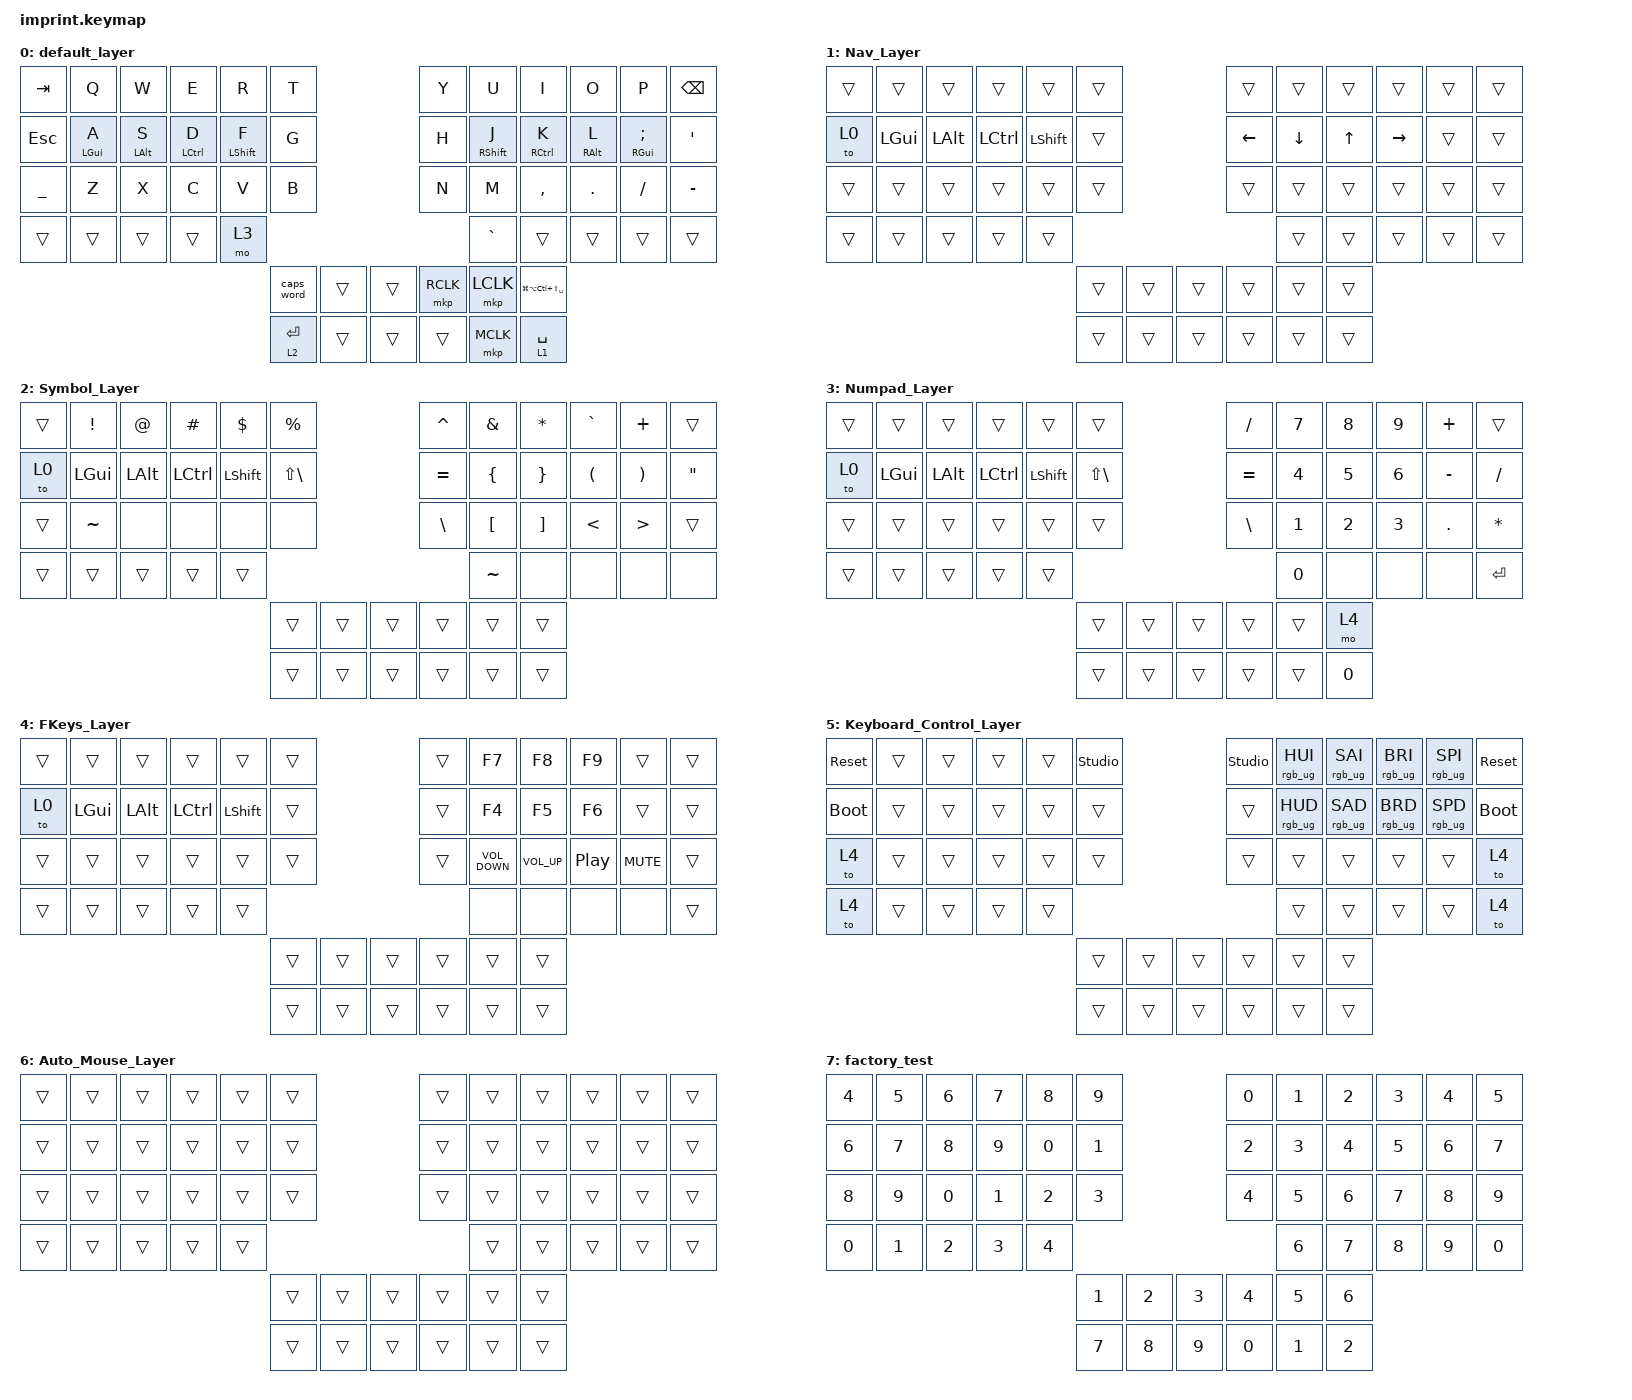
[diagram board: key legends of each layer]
#include <input/processors.dtsi>
#include <dt-bindings/zmk/input_transform.h>
#include <behaviors.dtsi>
#include <dt-bindings/zmk/bt.h>
#include <dt-bindings/zmk/keys.h>
#include <dt-bindings/zmk/pointing.h>
#include <dt-bindings/zmk/rgb.h>

// https://getreuer.info/posts/keyboards/faqs/index.html#home-row-mods-are-hard-to-use
#define IDLE_MS 80
#define IDLE_SHORT_MS 50
#define QUICK_TAP_MS 175
#define QUICK_TAP_SHORT_MS 140

// https://nickcoutsos.github.io/keymap-layout-tools
#define KEYS_R 6 7 8 9 10 11 18 19 20 21 22 23 30 31 32 33 34 35 41 42 43 44 45
#define KEYS_L 0 1 2 3 4 5 12 13 14 15 16 17 24 25 26 27 28 29 36 37 38 39 40
#define THUMB_KEYS_L 52
#define THUMB_KEYS_R 57

&caps_word {
    continue-list = <UNDERSCORE MINUS BACKSPACE LEFT RIGHT>;
};

/ {
    chosen { zmk,matrix-transform = &imprint_letters_only_full_bottom_row; };
    behaviors {
        hrm_l: home_row_mod_left {
            compatible = "zmk,behavior-hold-tap";
            #binding-cells = <2>;
            flavor = "balanced";
            require-prior-idle-ms = <IDLE_MS>;
            tapping-term-ms = <200>;
            quick-tap-ms = <QUICK_TAP_MS>;
            bindings = <&kp>, <&kp>;
            hold-trigger-key-positions = <KEYS_R THUMB_KEYS_R>;
            hold-trigger-on-release;
        };
        hrm_ls: home_row_mod_left_short {
            compatible = "zmk,behavior-hold-tap";
            #binding-cells = <2>;
            flavor = "balanced";
            require-prior-idle-ms = <IDLE_SHORT_MS>;
            tapping-term-ms = <180>;
            quick-tap-ms = <QUICK_TAP_SHORT_MS>;
            bindings = <&kp>, <&kp>;
            hold-trigger-key-positions = <KEYS_R THUMB_KEYS_R>;
            hold-trigger-on-release;
        };
        hrm_r: home_row_mod_right {
            compatible = "zmk,behavior-hold-tap";
            #binding-cells = <2>;
            flavor = "balanced";
            require-prior-idle-ms = <IDLE_MS>;
            tapping-term-ms = <200>;
            quick-tap-ms = <QUICK_TAP_MS>;
            bindings = <&kp>, <&kp>;
            hold-trigger-key-positions = <KEYS_L THUMB_KEYS_L>;
            hold-trigger-on-release;
        };
      
        hrm_rs: home_row_mod_right_short {
            compatible = "zmk,behavior-hold-tap";
            #binding-cells = <2>;
            flavor = "balanced";
            require-prior-idle-ms = <IDLE_SHORT_MS>;
            tapping-term-ms = <180>;
            quick-tap-ms = <QUICK_TAP_SHORT_MS>;
            bindings = <&kp>, <&kp>;
            hold-trigger-key-positions = <KEYS_L THUMB_KEYS_L>;
            hold-trigger-on-release;
        };
    };

    keymap {
        compatible = "zmk,keymap";

        // layer 0
        default_layer {
            bindings = <
//    ┌─────┬───────────────┬───────────────┬───────────────┬────────────────┬───┐                                                                      ┌───┬────────────────┬───────────────┬───────────────┬───────────────┬──────┐
//    │ tab │       Q       │       W       │       E       │       R        │ T │                                                                      │ Y │       U        │       I       │       O       │       P       │ bspc │
//    ├─────┼───────────────┼───────────────┼───────────────┼────────────────┼───┤                                                                      ├───┼────────────────┼───────────────┼───────────────┼───────────────┼──────┤
//    │ esc │ &hrm_l lgui A │ &hrm_l lalt S │ &hrm_l lctl D │ &hrm_ls lsft F │ G │                                                                      │ H │ &hrm_rs rsft J │ &hrm_r rctl K │ &hrm_r ralt L │ &hrm_r rgui ; │  '   │
//    ├─────┼───────────────┼───────────────┼───────────────┼────────────────┼───┤                                                                      ├───┼────────────────┼───────────────┼───────────────┼───────────────┼──────┤
//    │  _  │       Z       │       X       │       C       │       V        │ B │                                                                      │ N │       M        │       ,       │       .       │       /       │  -   │
//    ├─────┼───────────────┼───────────────┼───────────────┼────────────────┼───┘                                                                      └───┼────────────────┼───────────────┼───────────────┼───────────────┼──────┤
//    │     │               │               │               │      mo 3      │                                                                              │       `        │               │               │               │      │
//    └─────┴───────────────┴───────────────┴───────────────┴────────────────┘   ┌──────────┬─────┬─────┐   ┌──────┬──────┬─────────────────────────────┐   └────────────────┴───────────────┴───────────────┴───────────────┴──────┘
//                                                                               │  capsw   │     │     │   │ rclk │ lclk │ lgui(lalt(lctl(lsft(spc)))) │
//                                                                               ├──────────┼─────┼─────┤   ├──────┼──────┼─────────────────────────────┤
//                                                                               │ lt 2 ent │     │     │   │      │ mclk │          lt 1 spc           │
//                                                                               └──────────┴─────┴─────┘   └──────┴──────┴─────────────────────────────┘
  &kp TAB          &kp Q           &kp W           &kp E            &kp R              &kp T                                                                                          &kp Y   &kp U              &kp I            &kp O           &kp P              &kp BSPC
  &kp ESC          &hrm_l LGUI A   &hrm_l LALT S   &hrm_l LCTRL D   &hrm_ls LSHIFT F   &kp G                                                                                          &kp H   &hrm_rs RSHIFT J   &hrm_r RCTRL K   &hrm_r RALT L   &hrm_r RGUI SEMI   &kp SINGLE_QUOTE
  &kp UNDERSCORE   &kp Z           &kp X           &kp C            &kp V              &kp B                                                                                          &kp N   &kp M              &kp COMMA        &kp DOT         &kp FSLH           &kp MINUS
  &trans           &trans          &trans          &trans           &mo 3                                                                                                                     &kp GRAVE          &trans           &trans          &trans             &trans
                                                                                               &caps_word   &trans   &trans       &mkp RCLK   &mkp LCLK   &kp LG(LA(LC(LS(SPACE))))
                                                                                               &lt 2 RET    &trans   &trans       &trans      &mkp MCLK   &lt 1 SPACE
            >;
        };

        // layer 1
        Nav_Layer {
            bindings = <
//    ┌──────┬──────┬──────┬──────┬──────┬─────┐                                       ┌──────┬──────┬─────┬──────┬─────┬─────┐
//    │      │      │      │      │      │     │                                       │      │      │     │      │     │     │
//    ├──────┼──────┼──────┼──────┼──────┼─────┤                                       ├──────┼──────┼─────┼──────┼─────┼─────┤
//    │ to 0 │ lgui │ lalt │ lctl │ lsft │     │                                       │ left │ down │ up  │ rght │     │     │
//    ├──────┼──────┼──────┼──────┼──────┼─────┤                                       ├──────┼──────┼─────┼──────┼─────┼─────┤
//    │      │      │      │      │      │     │                                       │      │      │     │      │     │     │
//    ├──────┼──────┼──────┼──────┼──────┼─────┘                                       └──────┼──────┼─────┼──────┼─────┼─────┤
//    │      │      │      │      │      │                                                    │      │     │      │     │     │
//    └──────┴──────┴──────┴──────┴──────┘     ┌─────┬─────┬─────┐   ┌─────┬─────┬─────┐      └──────┴─────┴──────┴─────┴─────┘
//                                             │     │     │     │   │     │     │     │
//                                             ├─────┼─────┼─────┤   ├─────┼─────┼─────┤
//                                             │     │     │     │   │     │     │     │
//                                             └─────┴─────┴─────┘   └─────┴─────┴─────┘
  &trans   &trans     &trans     &trans      &trans       &trans                                                             &trans     &trans     &trans   &trans      &trans   &trans
  &to 0    &kp LGUI   &kp LALT   &kp LCTRL   &kp LSHIFT   &trans                                                             &kp LEFT   &kp DOWN   &kp UP   &kp RIGHT   &trans   &trans
  &trans   &trans     &trans     &trans      &trans       &trans                                                             &trans     &trans     &trans   &trans      &trans   &trans
  &trans   &trans     &trans     &trans      &trans                                                                                     &trans     &trans   &trans      &trans   &trans
                                                                   &trans   &trans   &trans       &trans   &trans   &trans
                                                                   &trans   &trans   &trans       &trans   &trans   &trans
            >;
        };

        // layer 2
        Symbol_Layer {
            bindings = <
//    ┌──────┬──────┬──────┬──────┬──────┬─────────┐                                       ┌───┬───┬─────┬─────┬─────┬─────┐
//    │      │  !   │  @   │  #   │  $   │    %    │                                       │ ^ │ & │  *  │  `  │  +  │     │
//    ├──────┼──────┼──────┼──────┼──────┼─────────┤                                       ├───┼───┼─────┼─────┼─────┼─────┤
//    │ to 0 │ lgui │ lalt │ lctl │ lsft │ lsft(\) │                                       │ = │ { │  }  │  (  │  )  │  "  │
//    ├──────┼──────┼──────┼──────┼──────┼─────────┤                                       ├───┼───┼─────┼─────┼─────┼─────┤
//    │      │  ~   │      │      │      │         │                                       │ \ │ [ │  ]  │  <  │  >  │     │
//    ├──────┼──────┼──────┼──────┼──────┼─────────┘                                       └───┼───┼─────┼─────┼─────┼─────┤
//    │      │      │      │      │      │                                                     │ ~ │     │     │     │     │
//    └──────┴──────┴──────┴──────┴──────┘         ┌─────┬─────┬─────┐   ┌─────┬─────┬─────┐   └───┴─────┴─────┴─────┴─────┘
//                                                 │     │     │     │   │     │     │     │
//                                                 ├─────┼─────┼─────┤   ├─────┼─────┼─────┤
//                                                 │     │     │     │   │     │     │     │
//                                                 └─────┴─────┴─────┘   └─────┴─────┴─────┘
  &trans   &kp EXCLAMATION   &kp AT_SIGN   &kp HASH    &kp DOLLAR   &kp PERCENT                                                                   &kp CARET       &kp AMPERSAND      &kp ASTERISK        &kp GRAVE              &kp PLUS                &trans
  &to 0    &kp LGUI          &kp LALT      &kp LCTRL   &kp LSHIFT   &kp LS(BACKSLASH)                                                             &kp EQUAL       &kp LEFT_BRACE     &kp RIGHT_BRACE     &kp LEFT_PARENTHESIS   &kp RIGHT_PARENTHESIS   &kp DOUBLE_QUOTES
  &trans   &kp TILDE         &none         &none       &none        &none                                                                         &kp BACKSLASH   &kp LEFT_BRACKET   &kp RIGHT_BRACKET   &kp LESS_THAN          &kp GREATER_THAN        &trans
  &trans   &trans            &trans        &trans      &trans                                                                                                     &kp TILDE          &none               &none                  &none                   &none
                                                                                        &trans   &trans   &trans       &trans   &trans   &trans
                                                                                        &trans   &trans   &trans       &trans   &trans   &trans
            >;
        };

        // layer 3
        Numpad_Layer {
            bindings = <
//    ┌──────┬──────┬──────┬──────┬──────┬─────────┐                                        ┌───┬───┬─────┬─────┬─────┬─────┐
//    │      │      │      │      │      │         │                                        │ / │ 7 │  8  │  9  │  +  │     │
//    ├──────┼──────┼──────┼──────┼──────┼─────────┤                                        ├───┼───┼─────┼─────┼─────┼─────┤
//    │ to 0 │ lgui │ lalt │ lctl │ lsft │ lsft(\) │                                        │ = │ 4 │  5  │  6  │  -  │  /  │
//    ├──────┼──────┼──────┼──────┼──────┼─────────┤                                        ├───┼───┼─────┼─────┼─────┼─────┤
//    │      │      │      │      │      │         │                                        │ \ │ 1 │  2  │  3  │  .  │  *  │
//    ├──────┼──────┼──────┼──────┼──────┼─────────┘                                        └───┼───┼─────┼─────┼─────┼─────┤
//    │      │      │      │      │      │                                                      │ 0 │     │     │     │ ent │
//    └──────┴──────┴──────┴──────┴──────┘         ┌─────┬─────┬─────┐   ┌─────┬─────┬──────┐   └───┴─────┴─────┴─────┴─────┘
//                                                 │     │     │     │   │     │     │ mo 4 │
//                                                 ├─────┼─────┼─────┤   ├─────┼─────┼──────┤
//                                                 │     │     │     │   │     │     │  0   │
//                                                 └─────┴─────┴─────┘   └─────┴─────┴──────┘
  &trans   &trans     &trans     &trans      &trans       &trans                                                                        &kp SLASH       &kp N7   &kp N8   &kp N9   &kp PLUS    &trans
  &to 0    &kp LGUI   &kp LALT   &kp LCTRL   &kp LSHIFT   &kp LS(BACKSLASH)                                                             &kp EQUAL       &kp N4   &kp N5   &kp N6   &kp MINUS   &kp SLASH
  &trans   &trans     &trans     &trans      &trans       &trans                                                                        &kp BACKSLASH   &kp N1   &kp N2   &kp N3   &kp DOT     &kp ASTERISK
  &trans   &trans     &trans     &trans      &trans                                                                                                     &kp N0   &none    &none    &none       &kp ENTER
                                                                              &trans   &trans   &trans       &trans   &trans   &mo 4
                                                                              &trans   &trans   &trans       &trans   &trans   &kp N0
            >;
        };

        // layer 4
        FKeys_Layer {
            bindings = <
//    ┌──────┬──────┬──────┬──────┬──────┬─────┐                                       ┌─────┬──────┬──────┬──────┬──────┬─────┐
//    │      │      │      │      │      │     │                                       │     │  f7  │  f8  │  f9  │      │     │
//    ├──────┼──────┼──────┼──────┼──────┼─────┤                                       ├─────┼──────┼──────┼──────┼──────┼─────┤
//    │ to 0 │ lgui │ lalt │ lctl │ lsft │     │                                       │     │  f4  │  f5  │  f6  │      │     │
//    ├──────┼──────┼──────┼──────┼──────┼─────┤                                       ├─────┼──────┼──────┼──────┼──────┼─────┤
//    │      │      │      │      │      │     │                                       │     │ vold │ volu │ play │ mute │     │
//    ├──────┼──────┼──────┼──────┼──────┼─────┘                                       └─────┼──────┼──────┼──────┼──────┼─────┤
//    │      │      │      │      │      │                                                   │      │      │      │      │     │
//    └──────┴──────┴──────┴──────┴──────┘     ┌─────┬─────┬─────┐   ┌─────┬─────┬─────┐     └──────┴──────┴──────┴──────┴─────┘
//                                             │     │     │     │   │     │     │     │
//                                             ├─────┼─────┼─────┤   ├─────┼─────┼─────┤
//                                             │     │     │     │   │     │     │     │
//                                             └─────┴─────┴─────┘   └─────┴─────┴─────┘
  &trans   &trans     &trans     &trans      &trans       &trans                                                             &trans   &kp F7              &kp F8            &kp F9             &trans       &trans
  &to 0    &kp LGUI   &kp LALT   &kp LCTRL   &kp LSHIFT   &trans                                                             &trans   &kp F4              &kp F5            &kp F6             &trans       &trans
  &trans   &trans     &trans     &trans      &trans       &trans                                                             &trans   &kp C_VOLUME_DOWN   &kp C_VOLUME_UP   &kp C_PLAY_PAUSE   &kp C_MUTE   &trans
  &trans   &trans     &trans     &trans      &trans                                                                                   &none               &none             &none              &none        &trans
                                                                   &trans   &trans   &trans       &trans   &trans   &trans
                                                                   &trans   &trans   &trans       &trans   &trans   &trans
            >;
        };

      // layer 5
        Keyboard_Control_Layer {
            bindings = <
//    ┌────────────┬─────┬─────┬─────┬─────┬────────────────┐                                       ┌────────────────┬─────────┬─────────┬─────────┬─────────┬────────────┐
//    │ &sys_reset │     │     │     │     │ &studio_unlock │                                       │ &studio_unlock │ ug_ hu+ │ ug_ sa+ │ ug_ br+ │ ug_ sp+ │ &sys_reset │
//    ├────────────┼─────┼─────┼─────┼─────┼────────────────┤                                       ├────────────────┼─────────┼─────────┼─────────┼─────────┼────────────┤
//    │    boot    │     │     │     │     │                │                                       │                │ ug_ hu- │ ug_ sa- │ ug_ br- │ ug_ sp- │    boot    │
//    ├────────────┼─────┼─────┼─────┼─────┼────────────────┤                                       ├────────────────┼─────────┼─────────┼─────────┼─────────┼────────────┤
//    │    to 4    │     │     │     │     │                │                                       │                │         │         │         │         │    to 4    │
//    ├────────────┼─────┼─────┼─────┼─────┼────────────────┘                                       └────────────────┼─────────┼─────────┼─────────┼─────────┼────────────┤
//    │    to 4    │     │     │     │     │                                                                         │         │         │         │         │    to 4    │
//    └────────────┴─────┴─────┴─────┴─────┘                ┌─────┬─────┬─────┐   ┌─────┬─────┬─────┐                └─────────┴─────────┴─────────┴─────────┴────────────┘
//                                                          │     │     │     │   │     │     │     │
//                                                          ├─────┼─────┼─────┤   ├─────┼─────┼─────┤
//                                                          │     │     │     │   │     │     │     │
//                                                          └─────┴─────┴─────┘   └─────┴─────┴─────┘
  &sys_reset    &trans   &trans   &trans   &trans   &studio_unlock                                                             &studio_unlock   &rgb_ug RGB_HUI   &rgb_ug RGB_SAI   &rgb_ug RGB_BRI   &rgb_ug RGB_SPI   &sys_reset
  &bootloader   &trans   &trans   &trans   &trans   &trans                                                                     &trans           &rgb_ug RGB_HUD   &rgb_ug RGB_SAD   &rgb_ug RGB_BRD   &rgb_ug RGB_SPD   &bootloader
  &to 4         &trans   &trans   &trans   &trans   &trans                                                                     &trans           &trans            &trans            &trans            &trans            &to 4
  &to 4         &trans   &trans   &trans   &trans                                                                                               &trans            &trans            &trans            &trans            &to 4
                                                                     &trans   &trans   &trans       &trans   &trans   &trans
                                                                     &trans   &trans   &trans       &trans   &trans   &trans
            >;
        };

        // layer 6
        Auto_Mouse_Layer {
            bindings = <
//    ┌─────┬─────┬─────┬─────┬─────┬─────┐                                       ┌─────┬─────┬─────┬─────┬─────┬─────┐
//    │     │     │     │     │     │     │                                       │     │     │     │     │     │     │
//    ├─────┼─────┼─────┼─────┼─────┼─────┤                                       ├─────┼─────┼─────┼─────┼─────┼─────┤
//    │     │     │     │     │     │     │                                       │     │     │     │     │     │     │
//    ├─────┼─────┼─────┼─────┼─────┼─────┤                                       ├─────┼─────┼─────┼─────┼─────┼─────┤
//    │     │     │     │     │     │     │                                       │     │     │     │     │     │     │
//    ├─────┼─────┼─────┼─────┼─────┼─────┘                                       └─────┼─────┼─────┼─────┼─────┼─────┤
//    │     │     │     │     │     │                                                   │     │     │     │     │     │
//    └─────┴─────┴─────┴─────┴─────┘     ┌─────┬─────┬─────┐   ┌─────┬─────┬─────┐     └─────┴─────┴─────┴─────┴─────┘
//                                        │     │     │     │   │     │     │     │
//                                        ├─────┼─────┼─────┤   ├─────┼─────┼─────┤
//                                        │     │     │     │   │     │     │     │
//                                        └─────┴─────┴─────┘   └─────┴─────┴─────┘
  &trans   &trans   &trans   &trans   &trans   &trans                                                             &trans   &trans   &trans   &trans   &trans   &trans
  &trans   &trans   &trans   &trans   &trans   &trans                                                             &trans   &trans   &trans   &trans   &trans   &trans
  &trans   &trans   &trans   &trans   &trans   &trans                                                             &trans   &trans   &trans   &trans   &trans   &trans
  &trans   &trans   &trans   &trans   &trans                                                                               &trans   &trans   &trans   &trans   &trans
                                                        &trans   &trans   &trans       &trans   &trans   &trans
                                                        &trans   &trans   &trans       &trans   &trans   &trans
            >;
        };

        // layer 7
        factory_test {
            bindings = <
//    ┌───┬───┬───┬───┬───┬───┐                           ┌───┬───┬───┬───┬───┬───┐
//    │ 4 │ 5 │ 6 │ 7 │ 8 │ 9 │                           │ 0 │ 1 │ 2 │ 3 │ 4 │ 5 │
//    ├───┼───┼───┼───┼───┼───┤                           ├───┼───┼───┼───┼───┼───┤
//    │ 6 │ 7 │ 8 │ 9 │ 0 │ 1 │                           │ 2 │ 3 │ 4 │ 5 │ 6 │ 7 │
//    ├───┼───┼───┼───┼───┼───┤                           ├───┼───┼───┼───┼───┼───┤
//    │ 8 │ 9 │ 0 │ 1 │ 2 │ 3 │                           │ 4 │ 5 │ 6 │ 7 │ 8 │ 9 │
//    ├───┼───┼───┼───┼───┼───┘                           └───┼───┼───┼───┼───┼───┤
//    │ 0 │ 1 │ 2 │ 3 │ 4 │                                   │ 6 │ 7 │ 8 │ 9 │ 0 │
//    └───┴───┴───┴───┴───┘   ┌───┬───┬───┐   ┌───┬───┬───┐   └───┴───┴───┴───┴───┘
//                            │ 1 │ 2 │ 3 │   │ 4 │ 5 │ 6 │
//                            ├───┼───┼───┤   ├───┼───┼───┤
//                            │ 7 │ 8 │ 9 │   │ 0 │ 1 │ 2 │
//                            └───┴───┴───┘   └───┴───┴───┘
  &kp N4   &kp N5   &kp N6   &kp N7   &kp N8   &kp N9                                                             &kp N0   &kp N1   &kp N2   &kp N3   &kp N4   &kp N5
  &kp N6   &kp N7   &kp N8   &kp N9   &kp N0   &kp N1                                                             &kp N2   &kp N3   &kp N4   &kp N5   &kp N6   &kp N7
  &kp N8   &kp N9   &kp N0   &kp N1   &kp N2   &kp N3                                                             &kp N4   &kp N5   &kp N6   &kp N7   &kp N8   &kp N9
  &kp N0   &kp N1   &kp N2   &kp N3   &kp N4                                                                               &kp N6   &kp N7   &kp N8   &kp N9   &kp N0
                                                        &kp N1   &kp N2   &kp N3       &kp N4   &kp N5   &kp N6
                                                        &kp N7   &kp N8   &kp N9       &kp N0   &kp N1   &kp N2
            >;
        };
    };
};


// right hand trackball configuration
&trackball_peripheral_listener {
    input-processors =
      // activate layer 1 on trackball move and wait 1000ms before deactivating it
     <&zip_temp_layer 1 1000>;
 };

//left hand trackball configuration
&trackball_central_listener {
    input-processors =
        // multiply sensitivity by 1, divide by 5 (make it slower for scrolling),
        <&zip_xy_scaler 1 5>,
        // make this trackball output scrolling events by default instead of cursor movement,
        <&zip_xy_to_scroll_mapper>,
        <&zip_scroll_scaler 1 8>,
        // invert vertical scrolling so that the view moves in the same direction as the top of the trackball.,
        <&zip_scroll_transform INPUT_TRANSFORM_Y_INVERT>;
};
